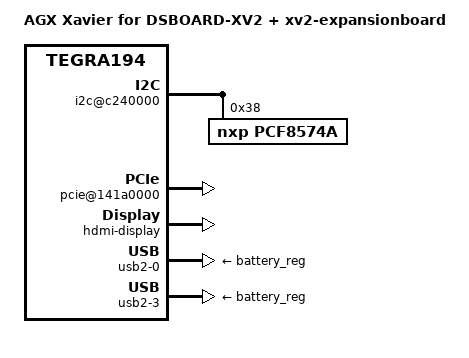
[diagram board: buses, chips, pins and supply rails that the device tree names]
/*
 * Top level DTS file for CVM:P2888-0001 and CVB:DSBOARD-XV2.
 *
 * Copyright (c) 2020-2021, Mist Elektronik Biyomedikal Ltd. Şti.  All rights reserved.
 *
 * This program is free software; you can redistribute it and/or modify
 * it under the terms of the GNU General Public License as published by
 * the Free Software Foundation; version 2 of the License.
 *
 * This program is distributed in the hope that it will be useful, but WITHOUT
 * ANY WARRANTY; without even the implied warranty of MERCHANTABILITY or
 * FITNESS FOR A PARTICULAR PURPOSE.  See the GNU General Public License for
 * more details.
 */
#include "common/tegra194-p2888-0001-p2822-0000-common.dtsi"
#include "common/tegra194-p2822-0000-camera-dsboard-xv2-a00.dtsi"

/*
 * t194 galen mfg uses 3 display heads out of the 4 available on t194:
 *	fb0: Head0->SOR2->DPIM->HDMI
 *	fb1: Head1->SOR0->DPIM->DP0
 *	fb2: Head2->SOR1->DPIM->DP1
 * Each display head is assigned two windows each.
 */


/ {
	nvidia,dtsfilename = __FILE__;
	nvidia,dtbbuildtime = __DATE__, __TIME__;
	model = "AGX Xavier for DSBOARD-XV2 + xv2-expansionboard";

	i2c@c240000 {
		ucsi_ccg@8 {
			status = "disabled";
		};
		pcf8574a: gpio@38 {
			compatible = "nxp,pcf8574a";
			reg = <0x38>;
			gpio-controller;
			#gpio-cells = <2>;
		};
	};

	i2c@c250000 {
		rt5659.7-001a@1a {
			status = "disabled";
		};
	};

	pcie@141a0000 { // C5 - PCIE0 (NVHS0)
		status = "okay";
	};
	pcie_ep@141a0000 {
		status = "disabled";
	};

	sound {
		status = "disabled";
	};

	host1x {

		nvdisplay@15200000 {
			/delete-property/  extcon-cables;
			/delete-property/  extcon-cable-names;
			/delete-property/  #extcon-cells;

			status="okay";
		};

		nvdisplay@15210000 {
			/delete-property/  extcon-cables;
			/delete-property/  extcon-cable-names;
			/delete-property/  #extcon-cells;

			status="okay";

			/delete-property/  vdd-edp-sec-mode-supply;
			/delete-property/  vdd-dp-pad-supply;
		};

		nvdisplay@15220000 {
			/delete-property/  extcon-cables;
			/delete-property/  extcon-cable-names;
			/delete-property/  #extcon-cells;

			status="disabled";
		};

		sor {
			/delete-property/  nvidia,typec-port;

			status = "okay";
			nvidia,active-panel = <&sor0_hdmi_display>;
			nvidia,xbar-ctrl = <0x0 0x1 0x2 0x3 0x4>;

			hdmi-display {
				status = "okay";

				disp-default-out {
					nvidia,out-flags = <TEGRA_DC_OUT_HOTPLUG_LOW>;
				};
			};

			dp-display {
				status = "disabled";
			};
		};

		sor1 {
			status = "disabled";
			/delete-property/  nvidia,typec-port;

			dp-display {
				status = "disabled";
			};
		};

	};

	xusb_padctl@3520000 {

		ports {
			usb2-0 {
				status = "okay";
				vbus-supply = <&battery_reg>;
				mode = "host";
			};
			usb2-3 {
				status = "okay";
				vbus-supply = <&battery_reg>;
				mode = "host";
			};
		};
	};

	xudc@3550000 {
		/delete-property/  extcon-cables;
		/delete-property/  extcon-cable-names;
		/delete-property/  #extcon-cells;
	};

	xhci@3610000 {
		/delete-property/  extcon-cables;
		/delete-property/  extcon-cable-names;
		/delete-property/  #extcon-cells;
	};

	/delete-node/ usb_cd;
	
	fixed-regulators {
		regulator@114 {
			/delete-property/	gpio;
			/delete-property/	enable-active-high;
		};

		regulator@0 {
			/delete-property/	regulator-always-on;
			gpio = <&tegra_main_gpio TEGRA194_MAIN_GPIO(Z, 1) 0x0>;
			enable-active-high;
		};
	};

	clocks-init {
		disable {
			/delete-property/ clocks;
		};
	};

};	


